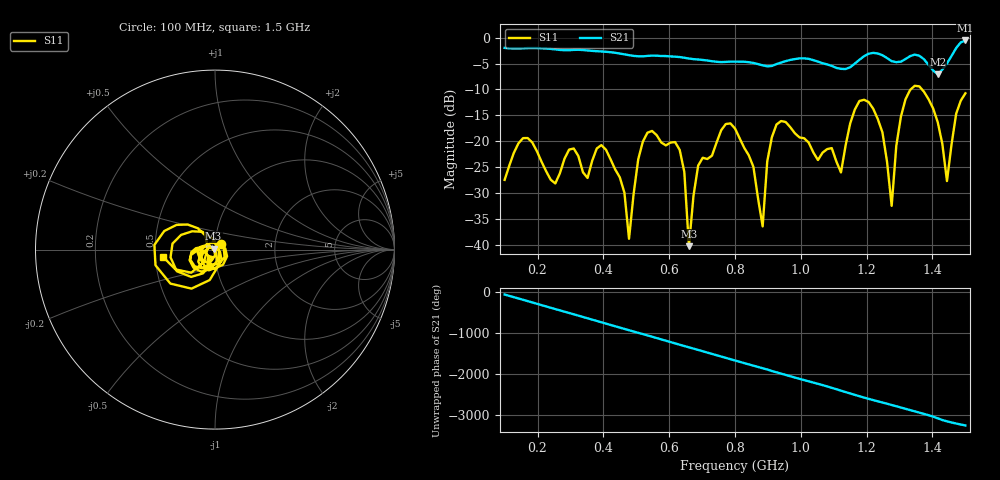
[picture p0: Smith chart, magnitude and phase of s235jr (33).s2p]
! NanoVNA-App
! Date: 2025-09-25 15:04:25
! Start: 100MHz Stop: 1,5GHz Points: 101
! S-Parameter data: F S11 S21 S12 S22
# Hz S RI R 50
!  Frequency  S11_Real  S11_Imag  S21_Real  S21_Imag  S12_Real  S12_Imag  S22_Real  S22_Imag
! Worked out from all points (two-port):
!   101 points, 100 MHz to 1.5 GHz, reference 50 ohm
!   highest |S21| = -0.53 dB at 1.5 GHz (marker M1); lowest = -7.1 dB at 1.416 GHz (marker M2)
!   |S21| within 3 dB of the highest: start of sweep to 494.8 MHz; 1.194 GHz to 1.252 GHz (58.2 MHz wide, 4.76 % of centre) (the widest 2 of 5)
!   lowest |S11| = -40.3 dB at 660 MHz (marker M3), VSWR 1.02, Z = 49.2 + j0.576 ohm
!   |S11| at or under -10 dB: start of sweep to 1.334 GHz; 1.368 GHz to end of sweep
!   S12 and S22 are empty: the file has one direction only
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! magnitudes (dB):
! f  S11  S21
! 100 MHz  -27.5  -2.0
! 156 MHz  -19.4  -2.0
! 338 MHz  -26.0  -2.4
! 408 MHz  -21.7  -2.7
! 478 MHz  -38.9  -3.4
! 520 MHz  -20.1  -3.6
! 576 MHz  -20.3  -3.5
! 632 MHz  -21.7  -3.7
! 660 MHz  -40.3  -4.0
! 688 MHz  -24.7  -4.2
! 800 MHz  -17.5  -4.6
! 884 MHz  -36.5  -5.3
! 926 MHz  -16.8  -5.1
! 1.038 GHz  -22.2  -4.3
! 1.122 GHz  -26.0  -6.0
! 1.206 GHz  -12.4  -3.1
! 1.248 GHz  -18.3  -3.4
! 1.276 GHz  -32.5  -4.5
! 1.332 GHz  -10.1  -3.6
! 1.416 GHz  -16.3  -7.1
! 1.444 GHz  -27.7  -5.0
! 1.5 GHz  -10.7  -0.5
